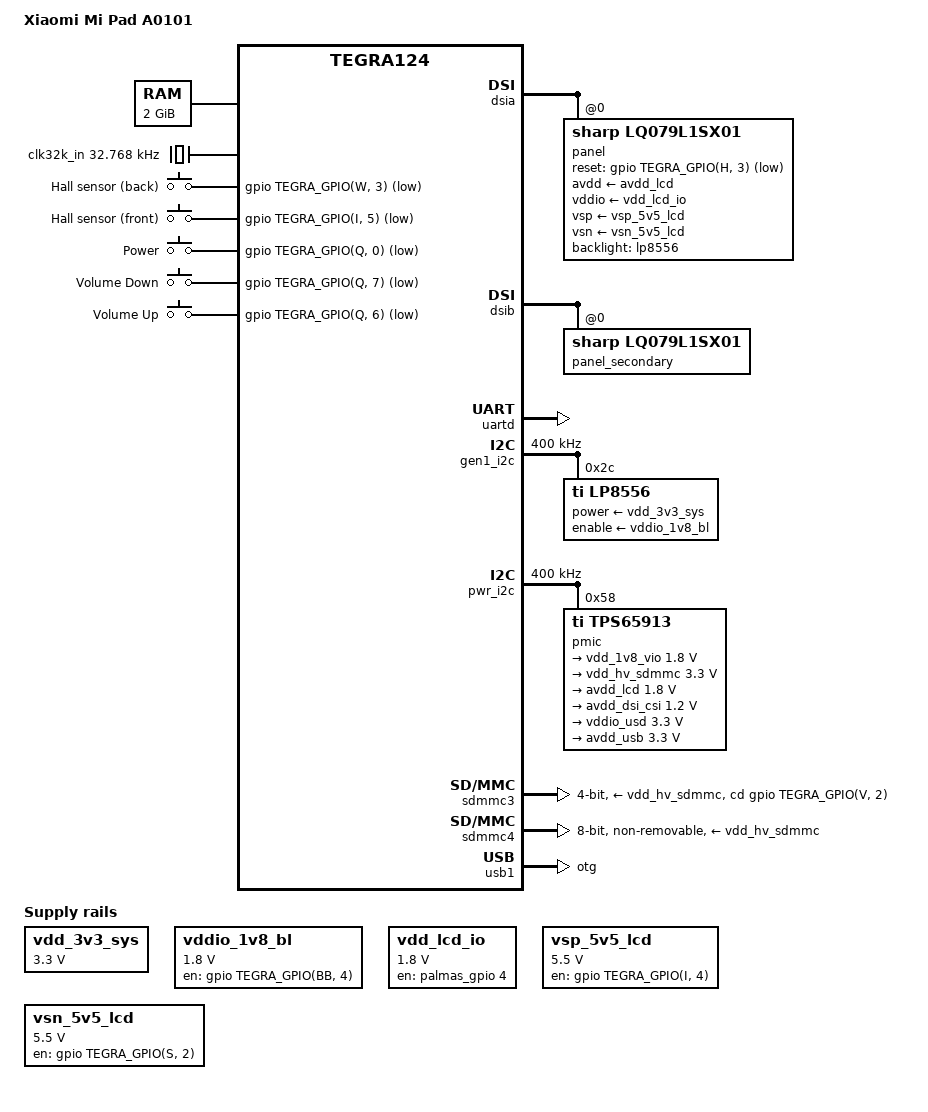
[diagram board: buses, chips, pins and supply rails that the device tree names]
// SPDX-License-Identifier: GPL-2.0
/dts-v1/;

#include <dt-bindings/input/input.h>
#include "tegra124.dtsi"

/ {
	model = "Xiaomi Mi Pad A0101";
	compatible = "xiaomi,mocha", "nvidia,tegra124";

	chosen {
		stdout-path = &uartd;
	};

	aliases {
		i2c0 = &pwr_i2c;
		i2c1 = &gen1_i2c;

		mmc0 = &sdmmc4; /* eMMC */
		mmc1 = &sdmmc3; /* uSD slot */

		usb0 = &usb1;
	};

	memory {
		device_type = "memory";
		reg = <0x80000000 0x80000000>;
	};

	host1x@50000000 {
		dsia: dsi@54300000 {
			status = "okay";

			avdd-dsi-csi-supply = <&avdd_dsi_csi>;
			nvidia,ganged-mode = <&dsib>;

			panel@0 {
				compatible = "sharp,lq079l1sx01";
				reg = <0>;

				link2 = <&panel_secondary>;

				avdd-supply = <&avdd_lcd>;
				vddio-supply = <&vdd_lcd_io>;

				vsp-supply = <&vsp_5v5_lcd>;
				vsn-supply = <&vsn_5v5_lcd>;

				reset-gpios = <&gpio TEGRA_GPIO(H, 3) GPIO_ACTIVE_LOW>;

				backlight = <&lp8556>;
			};
		};

		dsib: dsi@54400000 {
			status = "okay";

			avdd-dsi-csi-supply = <&avdd_dsi_csi>;

			panel_secondary: panel@0 {
				compatible = "sharp,lq079l1sx01";
				reg = <0>;
			};
		};
	};

	pinmux@70000868 {
		pinctrl-names = "default";
		pinctrl-0 = <&state_default>;

		state_default: pinmux {
			/* Keys pinmux */
			keys {
				nvidia,pins = "kb_col0_pq0",
						"kb_col6_pq6",
						"kb_col7_pq7";
				nvidia,function = "rsvd2";
				nvidia,pull = <TEGRA_PIN_PULL_UP>;
				nvidia,tristate = <TEGRA_PIN_DISABLE>;
				nvidia,enable-input = <TEGRA_PIN_ENABLE>;
			};
			hall-front {
				nvidia,pins = "pi5";
				nvidia,function = "gmi";
				nvidia,pull = <TEGRA_PIN_PULL_UP>;
				nvidia,tristate = <TEGRA_PIN_DISABLE>;
				nvidia,enable-input = <TEGRA_PIN_ENABLE>;
			};
			hall-back {
				nvidia,pins = "gpio_w3_aud_pw3";
				nvidia,function = "spi1";
				nvidia,pull = <TEGRA_PIN_PULL_UP>;
				nvidia,tristate = <TEGRA_PIN_DISABLE>;
				nvidia,enable-input = <TEGRA_PIN_ENABLE>;
			};

			/* Leds pinmux */
			bl-en {
				nvidia,pins = "pbb4";
				nvidia,function = "vgp4";
				nvidia,pull = <TEGRA_PIN_PULL_DOWN>;
				nvidia,tristate = <TEGRA_PIN_DISABLE>;
				nvidia,enable-input = <TEGRA_PIN_DISABLE>;
			};
			keys-led {
				nvidia,pins = "ph1";
				nvidia,function = "pwm1";
				nvidia,pull = <TEGRA_PIN_PULL_NONE>;
				nvidia,tristate = <TEGRA_PIN_DISABLE>;
				nvidia,enable-input = <TEGRA_PIN_DISABLE>;
			};

			/* Panel pinmux */
			lcd-rst {
				nvidia,pins = "ph3";
				nvidia,function = "gmi";
				nvidia,pull = <TEGRA_PIN_PULL_UP>;
				nvidia,tristate = <TEGRA_PIN_DISABLE>;
				nvidia,enable-input = <TEGRA_PIN_DISABLE>;
			};
			lcd-vsp {
				nvidia,pins = "pi4";
				nvidia,function = "gmi";
				nvidia,pull = <TEGRA_PIN_PULL_DOWN>;
				nvidia,tristate = <TEGRA_PIN_DISABLE>;
				nvidia,enable-input = <TEGRA_PIN_DISABLE>;
			};
			lcd-vsn {
				nvidia,pins = "kb_row10_ps2";
				nvidia,function = "kbc";
				nvidia,pull = <TEGRA_PIN_PULL_DOWN>;
				nvidia,tristate = <TEGRA_PIN_DISABLE>;
				nvidia,enable-input = <TEGRA_PIN_DISABLE>;
			};
			lcd-id {
				nvidia,pins = "kb_row6_pr6";
				nvidia,function = "displaya_alt";
				nvidia,pull = <TEGRA_PIN_PULL_NONE>;
				nvidia,tristate = <TEGRA_PIN_DISABLE>;
				nvidia,enable-input = <TEGRA_PIN_ENABLE>;
			};
			lcd-pwm {
				nvidia,pins = "ph2";
				nvidia,function = "pwm2";
				nvidia,pull = <TEGRA_PIN_PULL_NONE>;
				nvidia,tristate = <TEGRA_PIN_DISABLE>;
				nvidia,enable-input = <TEGRA_PIN_DISABLE>;
			};

			/* SDMMC3 pinmux */
			sdmmc3-clk {
				nvidia,pins = "sdmmc3_clk_pa6";
				nvidia,function = "sdmmc3";
				nvidia,pull = <TEGRA_PIN_PULL_NONE>;
				nvidia,tristate = <TEGRA_PIN_DISABLE>;
				nvidia,enable-input = <TEGRA_PIN_ENABLE>;
			};
			sdmmc3-cmd {
				nvidia,pins = "sdmmc3_cmd_pa7",
						"sdmmc3_dat0_pb7",
						"sdmmc3_dat1_pb6",
						"sdmmc3_dat2_pb5",
						"sdmmc3_dat3_pb4",
						"sdmmc3_clk_lb_out_pee4",
						"sdmmc3_clk_lb_in_pee5";
				nvidia,function = "sdmmc3";
				nvidia,pull = <TEGRA_PIN_PULL_UP>;
				nvidia,tristate = <TEGRA_PIN_DISABLE>;
				nvidia,enable-input = <TEGRA_PIN_ENABLE>;
			};
			sdmmc3-cd {
				nvidia,pins = "sdmmc3_cd_n_pv2";
				nvidia,function = "sdmmc3";
				nvidia,pull = <TEGRA_PIN_PULL_NONE>;
				nvidia,tristate = <TEGRA_PIN_DISABLE>;
				nvidia,enable-input = <TEGRA_PIN_ENABLE>;
			};
			usd-pwr {
				nvidia,pins = "kb_row0_pr0";
				nvidia,function = "rsvd4";
				nvidia,pull = <TEGRA_PIN_PULL_NONE>;
				nvidia,tristate = <TEGRA_PIN_DISABLE>;
				nvidia,enable-input = <TEGRA_PIN_DISABLE>;
			};

			/* SDMMC4 pinmux */
			sdmmc4-clk {
				nvidia,pins = "sdmmc4_clk_pcc4";
				nvidia,function = "sdmmc4";
				nvidia,pull = <TEGRA_PIN_PULL_NONE>;
				nvidia,tristate = <TEGRA_PIN_DISABLE>;
				nvidia,enable-input = <TEGRA_PIN_ENABLE>;
			};
			sdmmc4-cmd {
				nvidia,pins = "sdmmc4_cmd_pt7",
						"sdmmc4_dat0_paa0",
						"sdmmc4_dat1_paa1",
						"sdmmc4_dat2_paa2",
						"sdmmc4_dat3_paa3",
						"sdmmc4_dat4_paa4",
						"sdmmc4_dat5_paa5",
						"sdmmc4_dat6_paa6",
						"sdmmc4_dat7_paa7";
				nvidia,function = "sdmmc4";
				nvidia,pull = <TEGRA_PIN_PULL_UP>;
				nvidia,tristate = <TEGRA_PIN_DISABLE>;
				nvidia,enable-input = <TEGRA_PIN_ENABLE>;
			};

			/* I2C pinmux */
			gen1-i2c {
				nvidia,pins = "gen1_i2c_sda_pc5",
						"gen1_i2c_scl_pc4";
				nvidia,function = "i2c1";
				nvidia,pull = <TEGRA_PIN_PULL_NONE>;
				nvidia,tristate = <TEGRA_PIN_DISABLE>;
				nvidia,enable-input = <TEGRA_PIN_ENABLE>;
				nvidia,lock = <TEGRA_PIN_DISABLE>;
				nvidia,open-drain = <TEGRA_PIN_DISABLE>;
			};
			gen2-i2c {
				nvidia,pins = "gen2_i2c_scl_pt5",
						"gen2_i2c_sda_pt6";
				nvidia,function = "i2c2";
				nvidia,pull = <TEGRA_PIN_PULL_NONE>;
				nvidia,tristate = <TEGRA_PIN_DISABLE>;
				nvidia,enable-input = <TEGRA_PIN_ENABLE>;
				nvidia,lock = <TEGRA_PIN_DISABLE>;
				nvidia,open-drain = <TEGRA_PIN_DISABLE>;
			};
			cam-i2c {
				nvidia,pins = "cam_i2c_scl_pbb1",
						"cam_i2c_sda_pbb2";
				nvidia,function = "i2c3";
				nvidia,pull = <TEGRA_PIN_PULL_NONE>;
				nvidia,tristate = <TEGRA_PIN_DISABLE>;
				nvidia,enable-input = <TEGRA_PIN_ENABLE>;
				nvidia,lock = <TEGRA_PIN_DISABLE>;
				nvidia,open-drain = <TEGRA_PIN_DISABLE>;
			};
			ddc-i2c {
				nvidia,pins = "ddc_scl_pv4",
						"ddc_sda_pv5";
				nvidia,function = "i2c4";
				nvidia,pull = <TEGRA_PIN_PULL_NONE>;
				nvidia,tristate = <TEGRA_PIN_DISABLE>;
				nvidia,enable-input = <TEGRA_PIN_ENABLE>;
			};
			pwr-i2c {
				nvidia,pins = "pwr_i2c_scl_pz6",
						"pwr_i2c_sda_pz7";
				nvidia,function = "i2cpwr";
				nvidia,pull = <TEGRA_PIN_PULL_NONE>;
				nvidia,tristate = <TEGRA_PIN_DISABLE>;
				nvidia,enable-input = <TEGRA_PIN_ENABLE>;
				nvidia,open-drain = <TEGRA_PIN_DISABLE>;
			};

			dsi-b {
				nvidia,pins = "mipi_pad_ctrl_dsi_b";
				nvidia,function = "dsi_b";
			};

			/* GPIO power/drive control */
			drive-sdio1 {
				nvidia,pins = "drive_sdio1";
				nvidia,high-speed-mode = <TEGRA_PIN_ENABLE>;
				nvidia,schmitt = <TEGRA_PIN_DISABLE>;
				nvidia,low-power-mode = <TEGRA_PIN_LP_DRIVE_DIV_1>;
				nvidia,pull-down-strength = <32>;
				nvidia,pull-up-strength = <42>;
				nvidia,slew-rate-rising = <TEGRA_PIN_SLEW_RATE_FASTEST>;
				nvidia,slew-rate-falling = <TEGRA_PIN_SLEW_RATE_FASTEST>;
			};

			drive-sdio3 {
				nvidia,pins = "drive_sdio3";
				nvidia,high-speed-mode = <TEGRA_PIN_ENABLE>;
				nvidia,schmitt = <TEGRA_PIN_DISABLE>;
				nvidia,low-power-mode = <TEGRA_PIN_LP_DRIVE_DIV_1>;
				nvidia,pull-down-strength = <20>;
				nvidia,pull-up-strength = <36>;
				nvidia,slew-rate-rising = <TEGRA_PIN_SLEW_RATE_FASTEST>;
				nvidia,slew-rate-falling = <TEGRA_PIN_SLEW_RATE_FASTEST>;
			};

			drive-gma {
				nvidia,pins = "drive_gma";
				nvidia,high-speed-mode = <TEGRA_PIN_ENABLE>;
				nvidia,schmitt = <TEGRA_PIN_DISABLE>;
				nvidia,low-power-mode = <TEGRA_PIN_LP_DRIVE_DIV_1>;
				nvidia,pull-down-strength = <1>;
				nvidia,pull-up-strength = <2>;
				nvidia,slew-rate-rising = <TEGRA_PIN_SLEW_RATE_FASTEST>;
				nvidia,slew-rate-falling = <TEGRA_PIN_SLEW_RATE_FASTEST>;
			};
		};
	};

	uartd: serial@70006300 {
		status = "okay";
	};

	gen1_i2c: i2c@7000c000 {
		status = "okay";
		clock-frequency = <400000>;

		lp8556: backlight@2c {
			compatible = "ti,lp8556";
			reg = <0x2c>;

			dev-ctrl = /bits/ 8 <0x83>;
			init-brt = /bits/ 8 <0x1f>;

			power-supply = <&vdd_3v3_sys>;
			enable-supply = <&vddio_1v8_bl>;

			rom-98h {
				rom-addr = /bits/ 8 <0x98>;
				rom-val = /bits/ 8 <0x80>;
			};

			rom-9eh {
				rom-addr = /bits/ 8 <0x9e>;
				rom-val = /bits/ 8 <0x21>;
			};

			rom-a0h {
				rom-addr = /bits/ 8 <0xa0>;
				rom-val = /bits/ 8 <0xff>;
			};

			rom-a1h {
				rom-addr = /bits/ 8 <0xa1>;
				rom-val = /bits/ 8 <0x3f>;
			};

			rom-a2h {
				rom-addr = /bits/ 8 <0xa2>;
				rom-val = /bits/ 8 <0x20>;
			};

			rom-a3h {
				rom-addr = /bits/ 8 <0xa3>;
				rom-val = /bits/ 8 <0x00>;
			};

			rom-a4h {
				rom-addr = /bits/ 8 <0xa4>;
				rom-val = /bits/ 8 <0x72>;
			};

			rom-a5h {
				rom-addr = /bits/ 8 <0xa5>;
				rom-val = /bits/ 8 <0x24>;
			};

			rom-a6h {
				rom-addr = /bits/ 8 <0xa6>;
				rom-val = /bits/ 8 <0x80>;
			};

			rom-a7h {
				rom-addr = /bits/ 8 <0xa7>;
				rom-val = /bits/ 8 <0xf5>;
			};

			rom-a8h {
				rom-addr = /bits/ 8 <0xa8>;
				rom-val = /bits/ 8 <0x24>;
			};

			rom-a9h {
				rom-addr = /bits/ 8 <0xa9>;
				rom-val = /bits/ 8 <0xb2>;
			};

			rom-aah {
				rom-addr = /bits/ 8 <0xaa>;
				rom-val = /bits/ 8 <0x8f>;
			};

			rom-aeh {
				rom-addr = /bits/ 8 <0xae>;
				rom-val = /bits/ 8 <0x0f>;
			};
		};
	};

	pwr_i2c: i2c@7000d000 {
		status = "okay";
		clock-frequency = <400000>;

		/* Texas Instruments TPS65913 PMIC */
		pmic: tps65913@58 {
			compatible = "ti,tps65913";
			reg = <0x58>;

			interrupts = <GIC_SPI 86 IRQ_TYPE_LEVEL_HIGH>;
			#interrupt-cells = <2>;
			interrupt-controller;

			ti,system-power-controller;

			palmas_gpio: gpio {
				compatible = "ti,palmas-gpio";
				gpio-controller;
				#gpio-cells = <2>;
			};

			pinmux {
				compatible = "ti,tps65913-pinctrl";

				pinctrl-names = "default";
				pinctrl-0 = <&palmas_default>;

				palmas_default: pinmux {
					pin_gpio4 {
						pins = "gpio4";
						function = "gpio";
					};
				};
			};

			pmic {
				compatible = "ti,tps65913-pmic";

				regulators {
					vdd_1v8_vio: smps8 {
						regulator-name = "vdd_1v8_gen";
						regulator-min-microvolt = <1800000>;
						regulator-max-microvolt = <1800000>;
						regulator-always-on;
						regulator-boot-on;
					};

					vdd_hv_sdmmc: smps9 {
						regulator-name = "vdd_hv_sdmmc";
						regulator-min-microvolt = <3300000>;
						regulator-max-microvolt = <3300000>;
						regulator-always-on;
						regulator-boot-on;
					};

					avdd_lcd: ldo2 {
						regulator-name = "avdd_lcd";
						regulator-min-microvolt = <1800000>;
						regulator-max-microvolt = <1800000>;
						regulator-boot-on;
					};

					avdd_dsi_csi: ldo5 {
						regulator-name = "avdd_dsi_csi";
						regulator-min-microvolt = <1200000>;
						regulator-max-microvolt = <1200000>;
						regulator-boot-on;
					};

					vddio_usd: ldo9 {
						regulator-name = "vddio_sdmmc";
						regulator-min-microvolt = <3300000>;
						regulator-max-microvolt = <3300000>;
						regulator-always-on;
						regulator-boot-on;
					};

					avdd_usb: ldousb {
						regulator-name = "vdd_usb";
						regulator-min-microvolt = <3300000>;
						regulator-max-microvolt = <3300000>;
						regulator-always-on;
						regulator-boot-on;
					};
				};
			};
		};
	};

	sdmmc3: sdhci@700b0400 {
		status = "okay";
		bus-width = <4>;

		cd-gpios = <&gpio TEGRA_GPIO(V, 2) GPIO_ACTIVE_HIGH>;
		power-gpios = <&gpio TEGRA_GPIO(R, 0) GPIO_ACTIVE_HIGH>;

		vmmc-supply = <&vdd_hv_sdmmc>;
		vqmmc-supply = <&vddio_usd>;
	};

	sdmmc4: sdhci@700b0600 {
		status = "okay";
		bus-width = <8>;
		non-removable;

		vmmc-supply = <&vdd_hv_sdmmc>;
		vqmmc-supply = <&vdd_1v8_vio>;
	};

	usb1: usb@7d000000 {
		status = "okay";
		dr_mode = "otg";
	};

	clk32k_in: clock-32k {
		compatible = "fixed-clock";
		#clock-cells = <0>;
		clock-frequency = <32768>;
		clock-output-names = "ref-oscillator";
	};

	extcon-keys {
		compatible = "gpio-keys";

		switch-back-hall-sensor {
			label = "Hall sensor (back)";
			gpios = <&gpio TEGRA_GPIO(W, 3) GPIO_ACTIVE_LOW>;
			linux,code = <SW_LID>;
		};

		switch-front-hall-sensor {
			label = "Hall sensor (front)";
			gpios = <&gpio TEGRA_GPIO(I, 5) GPIO_ACTIVE_LOW>;
			linux,code = <SW_LID>;
		};
	};

	gpio-keys {
		compatible = "gpio-keys";

		key-power {
			label = "Power";
			gpios = <&gpio TEGRA_GPIO(Q, 0) GPIO_ACTIVE_LOW>;
			linux,code = <KEY_ENTER>;
		};

		key-volume-down {
			label = "Volume Down";
			gpios = <&gpio TEGRA_GPIO(Q, 7) GPIO_ACTIVE_LOW>;
			linux,code = <KEY_DOWN>;
		};

		key-volume-up {
			label = "Volume Up";
			gpios = <&gpio TEGRA_GPIO(Q, 6) GPIO_ACTIVE_LOW>;
			linux,code = <KEY_UP>;
		};
	};

	vdd_3v3_sys: regulator-bl-en {
		compatible = "regulator-fixed";
		regulator-name = "vdd_5v0_bl";
		regulator-min-microvolt = <3300000>;
		regulator-max-microvolt = <3300000>;
		enable-active-high;
	};

	vddio_1v8_bl: regulator-bl-io {
		compatible = "regulator-fixed";
		regulator-name = "vddio_1v8_bl";
		regulator-min-microvolt = <1800000>;
		regulator-max-microvolt = <1800000>;
		enable-active-high;
		gpio = <&gpio TEGRA_GPIO(BB, 4) GPIO_ACTIVE_HIGH>;
	};

	vdd_lcd_io: regulator-lcdvio {
		compatible = "regulator-fixed";
		regulator-name = "dvdd_lcd";
		regulator-min-microvolt = <1800000>;
		regulator-max-microvolt = <1800000>;
		enable-active-high;
		gpio = <&palmas_gpio 4 GPIO_ACTIVE_HIGH>;
	};

	vsp_5v5_lcd: regulator-vsp {
		compatible = "regulator-fixed";
		regulator-name = "avdd_lcd_vsp";
		regulator-min-microvolt = <5500000>;
		regulator-max-microvolt = <5500000>;
		enable-active-high;
		gpio = <&gpio TEGRA_GPIO(I, 4) GPIO_ACTIVE_HIGH>;
	};

	vsn_5v5_lcd: regulator-vsn {
		compatible = "regulator-fixed";
		regulator-name = "avdd_lcd_vsn";
		regulator-min-microvolt = <5500000>;
		regulator-max-microvolt = <5500000>;
		enable-active-high;
		gpio = <&gpio TEGRA_GPIO(S, 2) GPIO_ACTIVE_HIGH>;
	};
};
